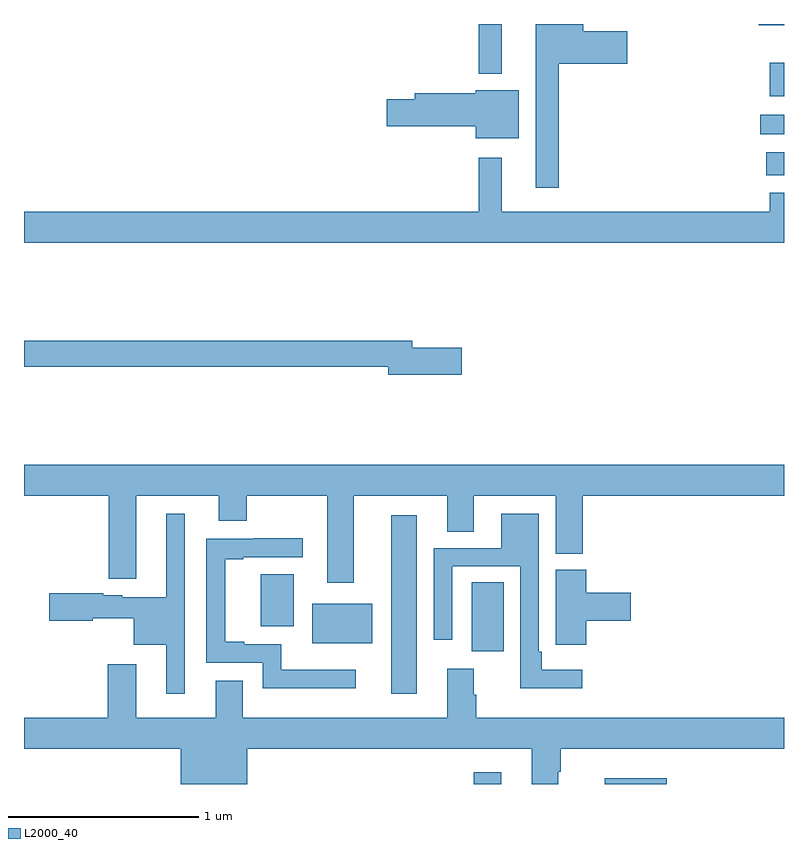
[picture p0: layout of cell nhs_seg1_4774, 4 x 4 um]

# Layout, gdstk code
import gdstk
lib = gdstk.Library(unit=1e-6, precision=1e-09)
def R(c, l, rs):  # rectangles x0, y0, x1, y1
    for r in rs: c.add(gdstk.rectangle(r[:2], r[2:], *l))
def P(c, l, *ps):  # polygons
    for p in ps: c.add(gdstk.Polygon(p, *l))
L2000_40 = (2000, 40)

nhs_seg1_4774 = lib.new_cell('nhs_seg1_4774')
R(nhs_seg1_4774, L2000_40, [(371.366,566.199,371.512,566.26), (372.057,566.199,372.382,566.23), (370.934,566.673,371.068,567.613), (371.357,566.898,371.524,567.26), (370.517,566.939,370.834,567.148), (370.247,567.029,370.42,567.304), (372.906,569.402,373,569.524), (372.876,569.618,373,569.722), (372.924,569.82,373,569.995), (371.394,569.936,371.515,570.199), (372.867,570.192,373,570.199)])
P(nhs_seg1_4774, L2000_40, [(371.815,569.99),(372.175,569.99),(372.175,570.16),(371.944,570.16),(371.944,570.199),(371.693,570.199),(371.693,569.337),(371.815,569.337)],
  [(371.605,569.851),(371.378,569.851),(371.378,569.834),(371.057,569.834),(371.057,569.804),(370.908,569.804),(370.908,569.662),(371.378,569.662),(371.378,569.597),(371.605,569.597)],
  [(373,569.311),(372.926,569.311),(372.926,569.212),(371.515,569.212),(371.515,569.494),(371.394,569.494),(371.394,569.212),(369,569.212),(369,569.048),(373,569.048)],
  [(371.305,568.496),(371.044,568.496),(371.044,568.532),(369,568.532),(369,568.396),(370.916,568.396),(370.916,568.354),(371.305,568.354)],
  [(370.735,567.716),(371.228,567.716),(371.228,567.526),(371.368,567.526),(371.368,567.716),(371.798,567.716),(371.798,567.412),(371.942,567.412),(371.942,567.716),(373,567.716),(373,567.88),(369,567.88),(369,567.716),(369.445,567.716),(369.445,567.391),(369.446,567.391),(369.446,567.279),(369.592,567.279),(369.592,567.716),(370.025,567.716),(370.025,567.585),(370.173,567.585),(370.173,567.716),(370.595,567.716),(370.595,567.258),(370.735,567.258)],
  [(371.938,566.8),(371.725,566.8),(371.725,566.896),(371.709,566.896),(371.709,567.622),(371.513,567.622),(371.513,567.441),(371.157,567.441),(371.157,566.958),(371.253,566.958),(371.253,567.345),(371.613,567.345),(371.613,566.702),(371.938,566.702)],
  [(369.846,567.622),(369.749,567.622),(369.749,567.181),(369.516,567.181),(369.516,567.193),(369.416,567.193),(369.416,567.203),(369.132,567.203),(369.132,567.059),(369.363,567.059),(369.363,567.071),(369.578,567.071),(369.578,566.933),(369.749,566.933),(369.749,566.673),(369.846,566.673)],
  [(370.747,566.8),(370.354,566.8),(370.354,566.934),(370.16,566.934),(370.16,566.947),(370.058,566.947),(370.058,567.381),(370.153,567.381),(370.153,567.393),(370.468,567.393),(370.468,567.492),(370.209,567.492),(370.209,567.489),(369.96,567.489),(369.96,566.838),(370.257,566.838),(370.257,566.702),(370.747,566.702)],
  [(371.96,567.059),(372.193,567.059),(372.193,567.206),(371.96,567.206),(371.96,567.327),(371.798,567.327),(371.798,567.043),(371.799,567.043),(371.799,566.931),(371.96,566.931)],
  [(370.15,566.743),(370.01,566.743),(370.01,566.548),(369.592,566.548),(369.592,566.83),(369.442,566.83),(369.442,566.548),(369,566.548),(369,566.384),(369.824,566.384),(369.824,566.199),(370.174,566.199),(370.174,566.384),(371.672,566.384),(371.672,566.199),(371.812,566.199),(371.812,566.264),(371.825,566.264),(371.825,566.384),(373,566.384),(373,566.548),(371.381,566.548),(371.381,566.669),(371.368,566.669),(371.368,566.806),(371.228,566.806),(371.228,566.548),(370.15,566.548)])

lib.write_gds('nhs_seg1_4774.gds')
